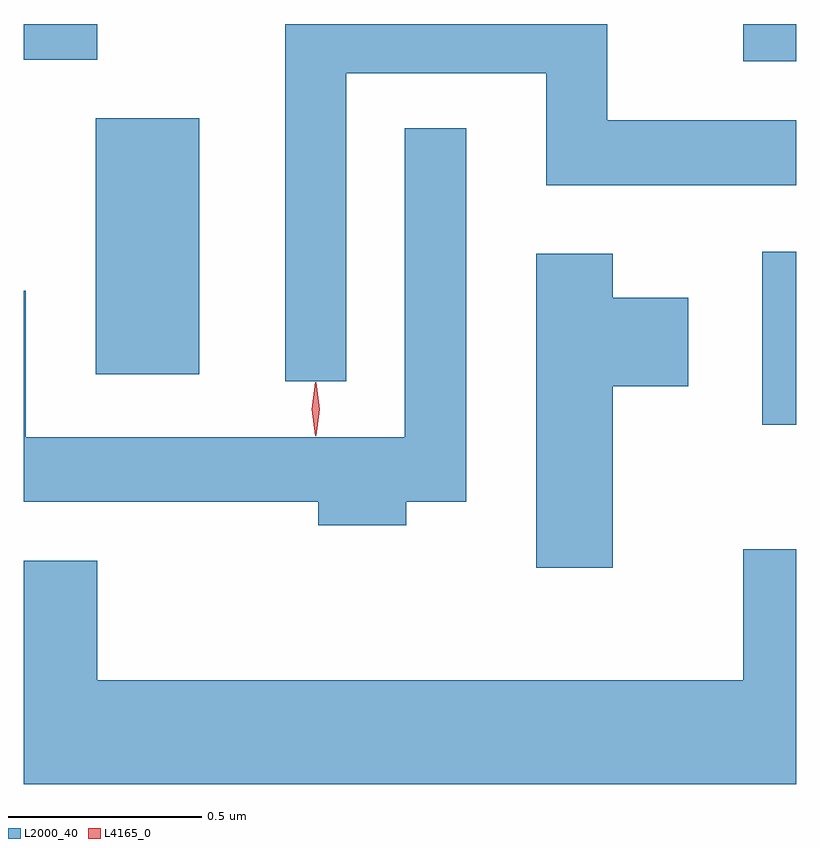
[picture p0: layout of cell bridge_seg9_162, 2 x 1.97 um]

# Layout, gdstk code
import gdstk
lib = gdstk.Library(unit=1e-6, precision=1e-09)
def R(c, l, rs):  # rectangles x0, y0, x1, y1
    for r in rs: c.add(gdstk.rectangle(r[:2], r[2:], *l))
def P(c, l, *ps):  # polygons
    for p in ps: c.add(gdstk.Polygon(p, *l))
L2000_40 = (2000, 40)
L4165_0 = (4165, 0)

bridge_seg9_162 = lib.new_cell('bridge_seg9_162')
R(bridge_seg9_162, L2000_40, [(1412.091,2063.786,1412.179,2064.234), (1410.366,2063.916,1410.634,2064.579), (1412.041,2064.726,1412.179,2064.823), (1410.179,2064.731,1410.369,2064.823)])
P(bridge_seg9_162, L2000_40, [(1411.014,2064.696),(1411.531,2064.696),(1411.531,2064.406),(1412.179,2064.406),(1412.179,2064.574),(1411.689,2064.574),(1411.689,2064.823),(1410.856,2064.823),(1410.856,2063.898),(1411.014,2063.898)],
  [(1411.169,2063.586),(1411.324,2063.586),(1411.324,2064.553),(1411.166,2064.553),(1411.166,2063.754),(1410.184,2063.754),(1410.184,2064.133),(1410.179,2064.133),(1410.179,2063.586),(1410.941,2063.586),(1410.941,2063.526),(1411.169,2063.526)],
  [(1411.704,2063.886),(1411.899,2063.886),(1411.899,2064.114),(1411.704,2064.114),(1411.704,2064.229),(1411.506,2064.229),(1411.506,2063.416),(1411.704,2063.416)],
  [(1412.179,2063.464),(1412.041,2063.464),(1412.041,2063.124),(1410.369,2063.124),(1410.369,2063.434),(1410.179,2063.434),(1410.179,2062.856),(1412.179,2062.856)])
P(bridge_seg9_162, L4165_0, [(1410.934,2063.757),(1410.925,2063.826),(1410.934,2063.896),(1410.935,2063.896),(1410.936,2063.896),(1410.945,2063.826),(1410.936,2063.757),(1410.935,2063.757)],
  [(1410.935,2063.759),(1410.934,2063.76),(1410.925,2063.826),(1410.934,2063.892),(1410.935,2063.893),(1410.935,2063.892),(1410.945,2063.826),(1410.935,2063.76)])

lib.write_gds('bridge_seg9_162.gds')
